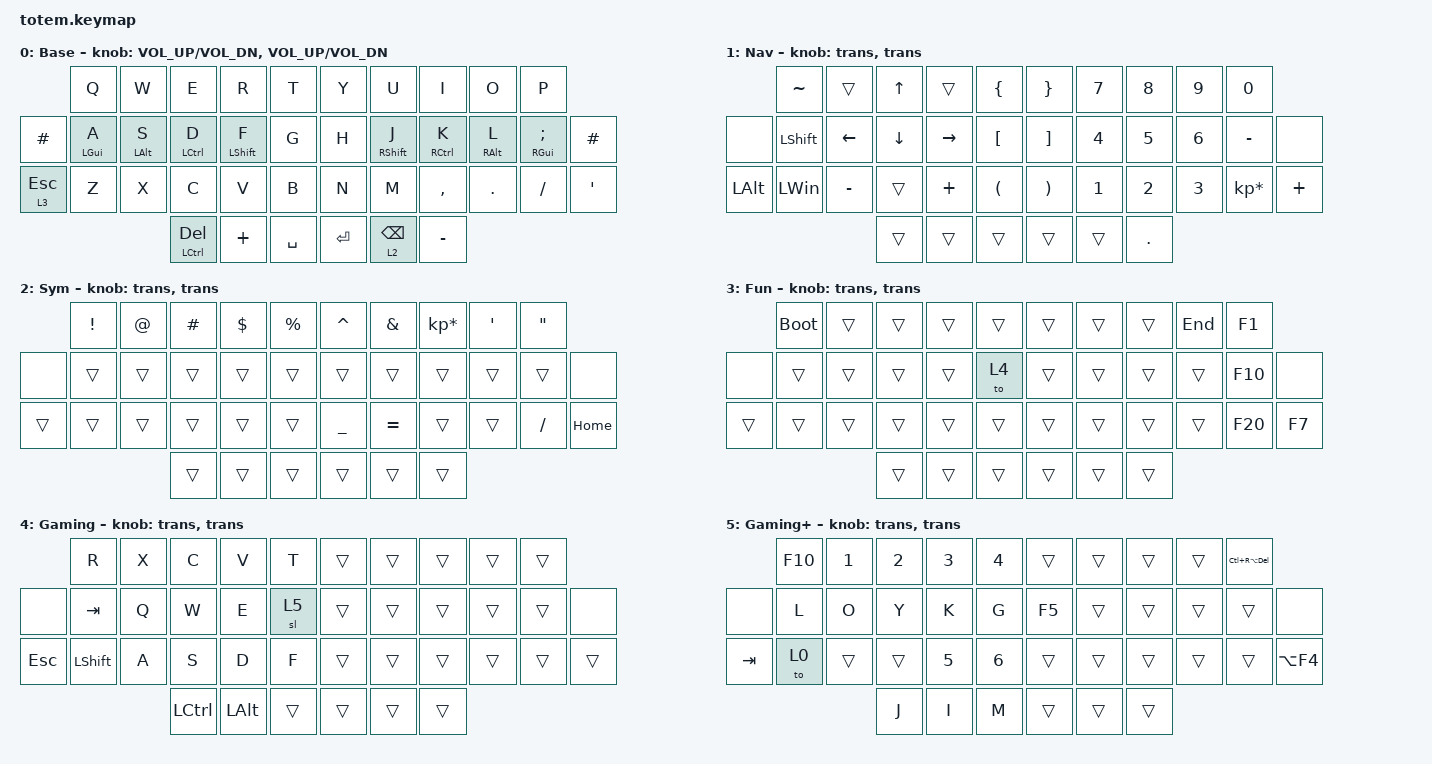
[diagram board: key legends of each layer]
#include <behaviors.dtsi>
#include <dt-bindings/zmk/keys.h>

#define Base        0
#define Media       1
#define Nav         2
#define Mouse       3
#define Sym         4
#define Num         5
#define Fun         6
#define Button      7
#define Game        8
#define Gameplus    9

&mt {
    quick-tap-ms = <100>;
    global-quick-tap;
    flavor = "tap-preferred";
    tapping-term-ms = <170>;
};

&lt {
    tapping-term-ms = <240>;
    flavor = "balanced";
    quick-tap-ms = <150>;
};

/ {
    behaviors {
        hm: homerow_mods {
            compatible = "zmk,behavior-hold-tap";
            label = "HOMEROW_MODS";
            #binding-cells = <2>;
            flavor = "tap-preferred";
            tapping-term-ms = <200>;
            quick-tap-ms = <125>;
            global-quick-tap;
            bindings = <&kp>, <&kp>;
        };
    };

    combos {
        compatible = "zmk,combos";
    };

    keymap {
        compatible = "zmk,keymap";

        Base {
            label = "Base";
            bindings = <
                               &kp Q        &kp W        &kp E           &kp R          &kp T             &kp Y     &kp U         &kp I         &kp O        &kp P 
                &kp HASH       &hm LGUI A   &hm LALT S   &hm LCTRL D     &hm LSHIFT F   &kp G             &kp H     &hm RSHFT J   &hm RCTRL K   &hm RALT L   &hm RGUI SEMICOLON   &kp HASH
                &lt 3 ESCAPE   &kp Z        &kp X        &kp C           &kp V          &kp B             &kp N     &kp M         &kp COMMA     &kp DOT      &kp SLASH            &kp APOSTROPHE
                                                         &mt LCTRL DEL   &kp PLUS       &kp SPACE         &kp RET   &lt 2 BSPC    &kp MINUS
            >;
            sensor-bindings =
                <&inc_dec_kp C_VOL_UP C_VOL_DN>,
                <&inc_dec_kp C_VOL_UP C_VOL_DN>;
        };

        Nav {
            label = "Nav";
            bindings = <
                              &kp TILDE       &trans     &kp UP_ARROW  &trans     &kp LBRC          &kp RBRC  &kp NUMBER_7  &kp NUMBER_8  &kp NUMBER_9  &kp NUMBER_0
                &none         &kp LEFT_SHIFT  &kp LEFT   &kp DOWN      &kp RIGHT  &kp LBKT          &kp RBKT  &kp NUMBER_4  &kp NUMBER_5  &kp NUMBER_6  &kp MINUS        &none
                &kp LEFT_ALT  &kp LEFT_WIN    &kp MINUS  &trans        &kp PLUS   &kp LPAR          &kp RPAR  &kp NUMBER_1  &kp NUMBER_2  &kp NUMBER_3  &kp KP_MULTIPLY  &kp PLUS
                                                         &trans        &trans     &trans            &trans    &trans        &kp DOT
            >;
            sensor-bindings =
                <&trans>,
                <&trans>;
        };

        Sym {
            label = "Sym";
            bindings = <
                         &kp EXCL   &kp AT   &kp HASH   &kp DOLLAR   &kp PERCENT          &kp CARET   &kp AMPERSAND   &kp KP_ASTERISK   &kp SQT   &kp DQT
                &none    &trans     &trans   &trans     &trans       &trans               &trans      &trans          &trans            &trans    &trans      &none
                &trans   &trans     &trans   &trans     &trans       &trans               &kp UNDER   &kp EQUAL       &trans            &trans    &kp SLASH   &kp HOME
                                             &trans     &trans       &trans               &trans      &trans          &trans
            >;
            sensor-bindings =
                <&trans>,
                <&trans>;
        };

        Fun {
            label = "Fun";
            bindings = <
                         &bootloader   &trans   &trans   &trans   &trans          &trans   &trans   &trans   &kp END   &kp F1
                &none    &trans        &trans   &trans   &trans   &to 4           &trans   &trans   &trans   &trans    &kp F10   &none
                &trans   &trans        &trans   &trans   &trans   &trans          &trans   &trans   &trans   &trans    &kp F20   &kp F7
                                                &trans   &trans   &trans          &trans   &trans   &trans
            >;
            sensor-bindings =
                <&trans>,
                <&trans>;
        };

        Gaming {
            bindings = <
                             &kp R            &kp X   &kp C       &kp V          &kp T           &trans  &trans  &trans  &trans  &trans
                &none        &kp TAB          &kp Q   &kp W       &kp E          &sl 5           &trans  &trans  &trans  &trans  &trans  &none
                &kp ESCAPE   &kp LEFT_SHIFT   &kp A   &kp S       &kp D          &kp F           &trans  &trans  &trans  &trans  &trans  &trans
                                                      &kp LCTRL   &kp LEFT_ALT   &trans          &trans  &trans  &trans
            >;
            sensor-bindings =
                <&trans>,
                <&trans>;
            label = "Gaming";
        };

        Gaming+ {
            bindings = <
                          &kp F10   &kp NUMBER_1   &kp NUMBER_2   &kp NUMBER_3   &kp NUMBER_4          &trans  &trans  &trans  &trans  &kp LC(RA(DEL))
                &none     &kp L     &kp O          &kp Y          &kp K          &kp G                 &kp F5  &trans  &trans  &trans  &trans           &none
                &kp TAB   &to 0     &trans         &trans         &kp NUMBER_5   &kp NUMBER_6          &trans  &trans  &trans  &trans  &trans           &kp LA(F4)
                                                   &kp J          &kp I          &kp M                 &trans  &trans  &trans
            >;
            sensor-bindings =
                <&trans>,
                <&trans>;
            label = "Gaming+";
        };
    };
};
